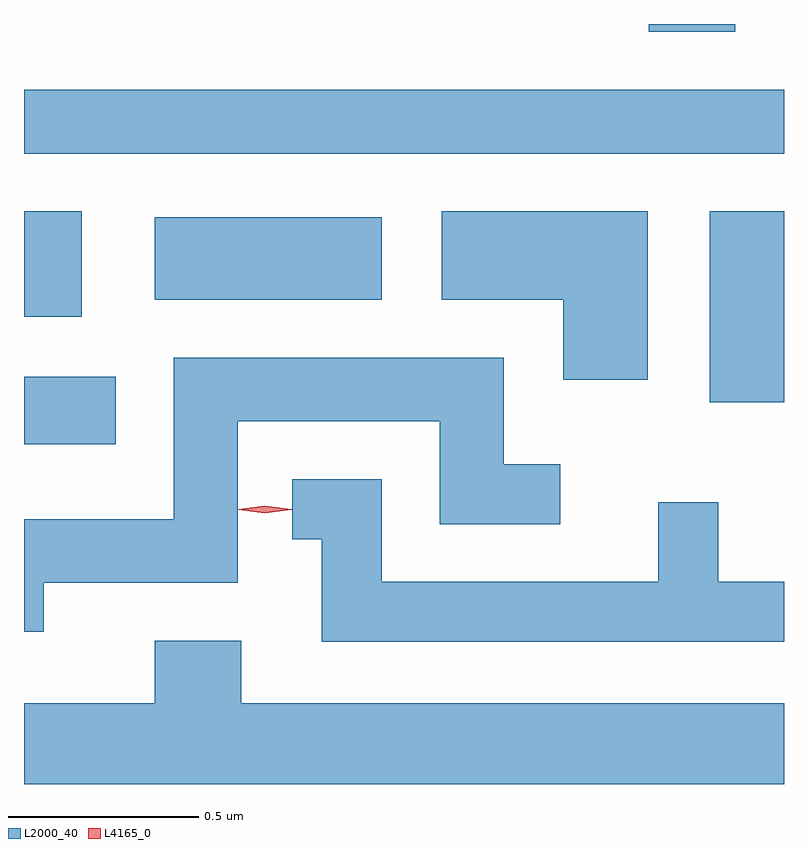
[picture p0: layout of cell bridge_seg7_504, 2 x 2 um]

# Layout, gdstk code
import gdstk
lib = gdstk.Library(unit=1e-6, precision=1e-09)
def R(c, l, rs):  # rectangles x0, y0, x1, y1
    for r in rs: c.add(gdstk.rectangle(r[:2], r[2:], *l))
def P(c, l, *ps):  # polygons
    for p in ps: c.add(gdstk.Polygon(p, *l))
L2000_40 = (2000, 40)
L4165_0 = (4165, 0)

bridge_seg7_504 = lib.new_cell('bridge_seg7_504')
R(bridge_seg7_504, L2000_40, [(1454.037,1710.826,1454.279,1711.004), (1455.841,1710.936,1456.037,1711.439), (1454.037,1711.161,1454.189,1711.439), (1454.381,1711.206,1454.979,1711.424), (1454.037,1711.591,1456.037,1711.759), (1455.681,1711.911,1455.909,1711.932)])
P(bridge_seg7_504, L2000_40, [(1455.679,1711.439),(1455.136,1711.439),(1455.136,1711.206),(1455.456,1711.206),(1455.456,1710.996),(1455.679,1710.996)],
  [(1454.089,1710.461),(1454.599,1710.461),(1454.599,1710.886),(1455.131,1710.886),(1455.131,1710.616),(1455.448,1710.616),(1455.448,1710.774),(1455.299,1710.774),(1455.299,1711.054),(1454.431,1711.054),(1454.431,1710.629),(1454.037,1710.629),(1454.037,1710.333),(1454.089,1710.333)],
  [(1456.037,1710.464),(1455.864,1710.464),(1455.864,1710.673),(1455.706,1710.673),(1455.706,1710.464),(1454.979,1710.464),(1454.979,1710.734),(1454.743,1710.734),(1454.743,1710.576),(1454.821,1710.576),(1454.821,1710.306),(1456.037,1710.306)],
  [(1456.037,1710.144),(1454.609,1710.144),(1454.609,1710.309),(1454.381,1710.309),(1454.381,1710.144),(1454.037,1710.144),(1454.037,1709.932),(1456.037,1709.932)])
P(bridge_seg7_504, L4165_0, [(1454.671,1710.644),(1454.602,1710.654),(1454.602,1710.654),(1454.602,1710.655),(1454.671,1710.664),(1454.741,1710.655),(1454.741,1710.654),(1454.741,1710.654)])

lib.write_gds('bridge_seg7_504.gds')
